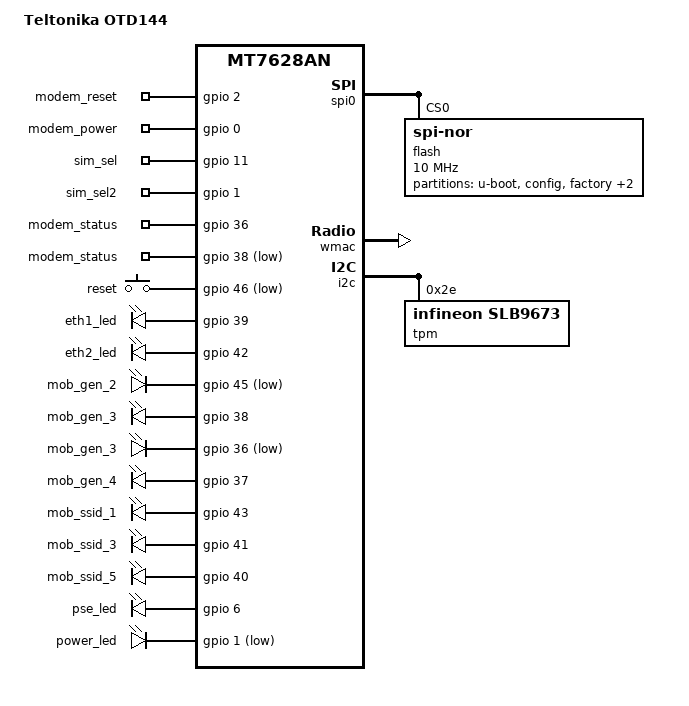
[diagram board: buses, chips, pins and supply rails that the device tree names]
// SPDX-License-Identifier: GPL-2.0-or-later OR MIT
/dts-v1/;

#include <dt-bindings/input/input.h>
#include <dt-bindings/gpio/gpio.h>
#include "mt7628an.dtsi"
#include "platform_name.dtsi"

/ {
	compatible = "teltonika,otd144", "teltonika,rute", "mediatek,mt7628an-soc";
	model = "Teltonika OTD144";

	chosen {
		bootargs = "console=ttyS0,115200 root=/dev/mtdblock5 is_full_hwver=1";
	};

	gpio-export {
		compatible = "gpio-export";
		#size-cells = <0>;

		gpio_modem_reset {
			gpio-export,name = "modem_reset";
			gpio-export,output = <0>;
			gpios = <&gpio 2 GPIO_ACTIVE_HIGH>;
		};

		gpio_modem_power {
			gpio-export,name = "modem_power";
			gpio-export,output = <0>;
			gpios = <&gpio 0 GPIO_ACTIVE_HIGH>;
		};

		gpio_sim_select {
			gpio-export,name = "sim_sel";
			gpio-export,output = <0>;
			gpios = <&gpio 11 GPIO_ACTIVE_HIGH>;
		};

		gpio_sim_select_2 {
			gpio-export,name = "sim_sel2";
			gpio-export,output = <0>;
			gpios = <&gpio 1 GPIO_ACTIVE_HIGH>;
			tlt-mnf,hwver = <500 9999>;
		};

		gpio_modem_status {
			gpio-export,name = "modem_status";
			gpios = <&gpio 36 GPIO_ACTIVE_HIGH>;
			tlt-mnf,hwver = <0 499>;
		};

		gpio_modem_status@1 {
			gpio-export,name = "modem_status";
			gpios = <&gpio 38 GPIO_ACTIVE_LOW>;
			tlt-mnf,hwver = <500 9999>;
		};
	};

	keys {
		compatible = "gpio-keys";

		reset {
			label = "reset";
			gpios = <&gpio 46 GPIO_ACTIVE_LOW>;
			linux,code = <KEY_RESTART>;
		};
	};

	leds {
		compatible = "gpio-leds";

		eth1_led {
			label = "eth1_led";
			gpios = <&gpio 39 GPIO_ACTIVE_HIGH>;
		};

		eth2_led {
			label = "eth2_led";
			gpios = <&gpio 42 GPIO_ACTIVE_HIGH>;
		};

		led_gen_2 {
			label = "mob_gen_2";
			gpios = <&gpio 45 GPIO_ACTIVE_LOW>;
		};

		led_gen_3 {
			label = "mob_gen_3";
			gpios = <&gpio 38 GPIO_ACTIVE_HIGH>;
			tlt-mnf,hwver = <0 499>;
		};

		led_gen_3@1 {
			label = "mob_gen_3";
			gpios = <&gpio 36 GPIO_ACTIVE_LOW>;
			tlt-mnf,hwver = <500 9999>;
		};

		led_gen_4 {
			label = "mob_gen_4";
			gpios = <&gpio 37 GPIO_ACTIVE_HIGH>;
		};

		led_ssid_1 {
			label = "mob_ssid_1";
			gpios = <&gpio 43 GPIO_ACTIVE_HIGH>;
			linux,default-trigger = "timer";
		};

		led_ssid_2 {
			label = "mob_ssid_3";
			gpios = <&gpio 41 GPIO_ACTIVE_HIGH>;
			linux,default-trigger = "timer";
		};

		led_ssid_3 {
			label = "mob_ssid_5";
			gpios = <&gpio 40 GPIO_ACTIVE_HIGH>;
			linux,default-trigger = "timer";
		};

		pse_led {
			label = "pse_led";
			gpios = <&gpio 6 GPIO_ACTIVE_HIGH>;
		};

		power_led {
			label = "power_led";
			gpios = <&gpio 1 GPIO_ACTIVE_LOW>;
			tlt-mnf,hwver = <0 499>;
			default-state = "on";
			retain-state-shutdown;
		};
	};

	tlt_gpios {
		gpiochip_info {
			hw_0 {
				hwver = <0>;
				gpiochip_count = <3>;

				gpiochip_0 = <32>; // Built-in
				gpiochip_1 = <32>; // Built-in
				gpiochip_2 = <32>; // Built-in
			};
		};

		misc {
			GPIO_0 {
				line_name = "GPIO_MODEM_POWER_1";
			};
			GPIO_1 {
				line_name = "GPIO_SIM_SELECT_2";
				compatible_versions = <5 99>;
			};
			GPIO_2 {
				line_name = "GPIO_MODEM_RESET_1";
			};
			GPIO_11 {
				line_name = "GPIO_SIM_SELECT";
			};
			GPIO_36 {
				line_name = "GPIO_MODEM_STATUS";
				compatible_versions = <0 4>;
			};
			GPIO_38 {
				line_name = "GPIO_MODEM_STATUS";
				compatible_versions = <5 99>;
				active_low;
			};
		};
	};

	poeman {
		bus = "/dev/i2c-0";
		budget@0 {
			budget = <15500>;
			max_port_power = <15400>;
			allowed_deficit = <300>;
		};
	};
};

&mnfinfo {
	sim_cfg {
		default = "2111000_2112000";
	};

	sim_count {
		default =  "2";
	};

	blver {
		reg = <&boot 0x3f000 0xa>;
		trailling-data;
	};
};

&state_default {
	gpio {
		groups = "i2s", "uart1", "p4led_an", "p3led_an", "p2led_an", "p1led_an", "p0led_an", "gpio", "wled_an", "perst", "spi cs1";
		function = "gpio";
	};
};

&spi0 {
	status = "okay";

	flash@0 {
		compatible = "jedec,spi-nor";
		reg = <0>;
		spi-max-frequency = <10000000>;

		partitions {
			compatible = "fixed-partitions";
			#address-cells = <1>;
			#size-cells = <1>;

			boot: boot: partition@0 {
				label = "u-boot";
				reg = <0x0 0x40000>;
				read-only;
			};

			config: partition@40000 {
				compatible = "nvmem-cells";
				#address-cells = <1>;
				#size-cells = <1>;

				label = "config";
				reg = <0x040000 0x010000>;
				read-only;

				macaddr_config_0: macaddr@0 {
					reg = <0x0 0x6>;
				};
			};

			factory: partition@50000 {
				label = "factory";
				reg = <0x050000 0x030000>;
				read-only;
			};

			partition@80000 {
				label = "firmware";
				reg = <0x080000 0x1ED0000>;
			};

			partition@1f50000 {
				label = "event-log";
				reg = <0x1F50000 0xB0000>;
			};
		};
	};
};

&wmac {
	status = "okay";
	nvmem-cells = <&macaddr_config_0>;
	nvmem-cell-names = "mac-address";
	mac-address-increment = <2>;
	mediatek,mtd-eeprom = <&factory 0x20000>;
};

&ethernet {
	nvmem-cells = <&macaddr_config_0>;
	nvmem-cell-names = "mac-address";
};

&esw {
	mediatek,portmap = <0x3e>;
};

&i2c {
	status = "okay";

	tpm@2e {
		compatible = "infineon,slb9673";
		reg = <0x2e>;
		status = "okay";
	};
};
